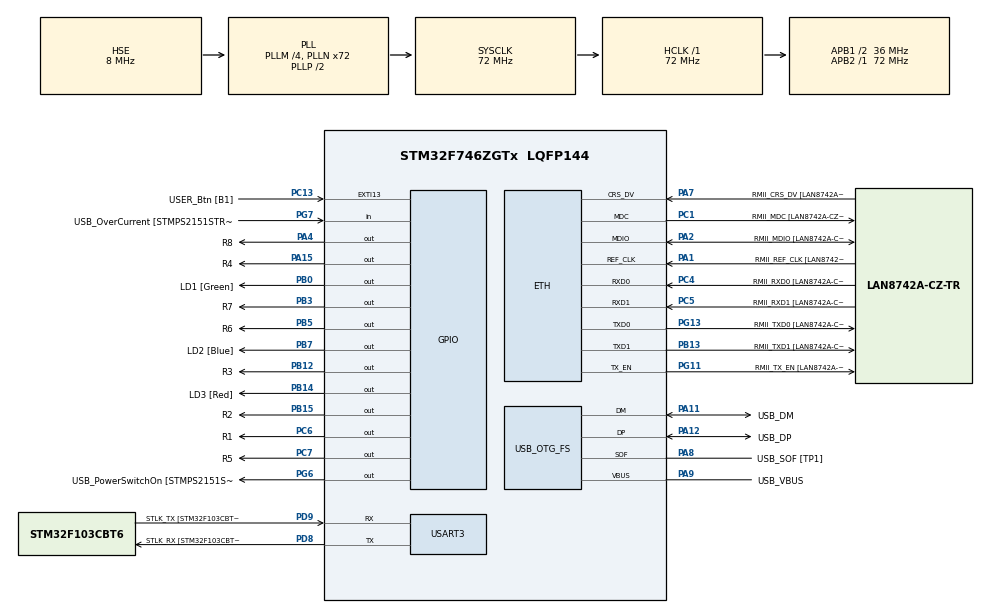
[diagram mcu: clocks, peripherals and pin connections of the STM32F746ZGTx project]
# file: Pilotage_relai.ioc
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ETH.MediaInterface=ETH_MEDIA_INTERFACE_RMII
ETH.PHY_Name=LAN8742A_PHY_ADDRESS
ETH.PHY_Value=0
ETH.PhyAddress=0
FREERTOS.Tasks01=HTTP,0,2048,StartDefaultTask,Default,NULL,Dynamic,NULL,NULL
LWIP.GATEWAY_ADDRESS=192.168.001.001
LWIP.IP_ADDRESS=192.168.001.002
LWIP.LWIP_DHCP=0
LWIP.LWIP_HTTPD=1
LWIP.NETMASK_ADDRESS=255.255.255.000
LWIP.Version=v2.0.3_Cube
Mcu.Family=STM32F7
Mcu.Name=STM32F746ZGTx
Mcu.Package=LQFP144
NVIC.ETH_IRQn=true\:5\:0\:false\:false\:true\:true\:false\:true
NVIC.EXTI15_10_IRQn=true\:5\:0\:false\:false\:true\:true\:true\:true
NVIC.PriorityGroup=NVIC_PRIORITYGROUP_4
NVIC.TIM6_DAC_IRQn=true\:0\:0\:false\:false\:true\:false\:false\:true
NVIC.TimeBase=TIM6_DAC_IRQn
NVIC.TimeBaseIP=TIM6
PA1.GPIO_Label=RMII_REF_CLK [LAN8742A-CZ-TR_REFCLK0]
PA1.Mode=RMII
PA1.Signal=ETH_REF_CLK
PA10.GPIO_Label=USB_ID
PA10.Signal=USB_OTG_FS_ID
PA11.GPIO_Label=USB_DM
PA11.Mode=Device_Only
PA11.Signal=USB_OTG_FS_DM
PA12.GPIO_Label=USB_DP
PA12.Mode=Device_Only
PA12.Signal=USB_OTG_FS_DP
PA13.GPIO_Label=TMS
PA13.Mode=Serial_Wire
PA13.Signal=SYS_JTMS-SWDIO
PA14.GPIO_Label=TCK
PA14.Mode=Serial_Wire
PA14.Signal=SYS_JTCK-SWCLK
PA15.GPIO_Label=R4
PA15.PinState=GPIO_PIN_SET
PA15.Signal=GPIO_Output
PA2.GPIO_Label=RMII_MDIO [LAN8742A-CZ-TR_MDIO]
PA2.Mode=RMII
PA2.Signal=ETH_MDIO
PA4.GPIO_Label=R8
PA4.GPIO_ModeDefaultOutputPP=GPIO_MODE_OUTPUT_PP
PA4.PinState=GPIO_PIN_SET
PA4.Signal=GPIO_Output
PA7.GPIO_Label=RMII_CRS_DV [LAN8742A-CZ-TR_CRS_DV]
PA7.Mode=RMII
PA7.Signal=ETH_CRS_DV
PA8.GPIO_Label=USB_SOF [TP1]
PA8.Mode=Activate_SOF_FS
PA8.Signal=USB_OTG_FS_SOF
PA9.GPIO_Label=USB_VBUS
PA9.Mode=Activate_VBUS
PA9.Signal=USB_OTG_FS_VBUS
PB0.GPIO_Label=LD1 [Green]
PB0.Signal=GPIO_Output
PB12.GPIO_Label=R3
PB12.PinState=GPIO_PIN_SET
PB12.Signal=GPIO_Output
PB13.GPIO_Label=RMII_TXD1 [LAN8742A-CZ-TR_TXD1]
PB13.Mode=RMII
PB13.Signal=ETH_TXD1
PB14.GPIO_Label=LD3 [Red]
PB14.Signal=GPIO_Output
PB15.GPIO_Label=R2
PB15.PinState=GPIO_PIN_SET
PB15.Signal=GPIO_Output
PB3.GPIO_Label=R7
PB3.PinState=GPIO_PIN_SET
PB3.Signal=GPIO_Output
PB5.GPIO_Label=R6
PB5.PinState=GPIO_PIN_SET
PB5.Signal=GPIO_Output
PB7.GPIO_Label=LD2 [Blue]
PB7.Signal=GPIO_Output
PC1.GPIO_Label=RMII_MDC [LAN8742A-CZ-TR_MDC]
PC1.Mode=RMII
PC1.Signal=ETH_MDC
PC13.GPIO_Label=USER_Btn [B1]
PC13.GPIO_ModeDefaultEXTI=GPIO_MODE_IT_FALLING
PC13.Signal=GPXTI13
PC14/OSC32_IN.Mode=LSE-External-Oscillator
PC14/OSC32_IN.Signal=RCC_OSC32_IN
PC15/OSC32_OUT.Mode=LSE-External-Oscillator
PC15/OSC32_OUT.Signal=RCC_OSC32_OUT
PC4.GPIO_Label=RMII_RXD0 [LAN8742A-CZ-TR_RXD0]
PC4.Mode=RMII
PC4.Signal=ETH_RXD0
PC5.GPIO_Label=RMII_RXD1 [LAN8742A-CZ-TR_RXD1]
PC5.Mode=RMII
PC5.Signal=ETH_RXD1
PC6.GPIO_Label=R1
PC6.PinState=GPIO_PIN_SET
PC6.Signal=GPIO_Output
PC7.GPIO_Label=R5
PC7.PinState=GPIO_PIN_SET
PC7.Signal=GPIO_Output
PD8.GPIO_Label=STLK_RX [STM32F103CBT6_PA3]
PD8.Mode=Asynchronous
PD8.Signal=USART3_TX
PD9.GPIO_Label=STLK_TX [STM32F103CBT6_PA2]
PD9.Mode=Asynchronous
PD9.Signal=USART3_RX
PG11.GPIO_Label=RMII_TX_EN [LAN8742A-CZ-TR_TXEN]
PG11.Mode=RMII
PG11.Signal=ETH_TX_EN
PG13.GPIO_Label=RMII_TXD0 [LAN8742A-CZ-TR_TXD0]
PG13.Mode=RMII
PG13.Signal=ETH_TXD0
PG6.GPIO_Label=USB_PowerSwitchOn [STMPS2151STR_EN]
PG6.Signal=GPIO_Output
PG7.GPIO_Label=USB_OverCurrent [STMPS2151STR_FAULT]
PG7.Signal=GPIO_Input
PH0/OSC_IN.GPIO_Label=MCO [STM32F103CBT6_PA8]
PH0/OSC_IN.Mode=HSE-External-Clock-Source
PH0/OSC_IN.Signal=RCC_OSC_IN
PH1/OSC_OUT.Mode=HSE-External-Clock-Source
PH1/OSC_OUT.Signal=RCC_OSC_OUT
ProjectManager.HeapSize=0x200
ProjectManager.StackSize=0x400
ProjectManager.TargetToolchain=STM32CubeIDE
RCC.48MHZClocksFreq_Value=24000000
RCC.AHBFreq_Value=72000000
RCC.APB1CLKDivider=RCC_HCLK_DIV2
RCC.APB1Freq_Value=36000000
RCC.APB1TimFreq_Value=72000000
RCC.APB2Freq_Value=72000000
RCC.APB2TimFreq_Value=72000000
RCC.CortexFreq_Value=72000000
RCC.HCLKFreq_Value=72000000
RCC.HSE_VALUE=8000000
RCC.HSI_VALUE=16000000
RCC.PLLM=4
RCC.PLLMUL=RCC_PLL_MUL9
RCC.PLLN=72
RCC.PLLQ=3
RCC.PRESCALERUSB=RCC_USBCLKSOURCE_PLL_DIV1_5
RCC.SYSCLKFreq_VALUE=72000000
RCC.SYSCLKSource=RCC_SYSCLKSOURCE_PLLCLK
RCC.SYSCLKSourceVirtual=RCC_SYSCLKSOURCE_PLLCLK
RCC.USBFreq_Value=48000000
RCC.VCOOutputFreq_Value=144000000
USART3.VirtualMode-Asynchronous=VM_ASYNC
USB_OTG_FS.VirtualMode=Device_Only
VP_FREERTOS_VS_CMSIS_V1.Mode=CMSIS_V1
VP_LWIP_VS_Enabled.Mode=Enabled
VP_SYS_VS_tim6.Mode=TIM6
board=NUCLEO-F746ZG

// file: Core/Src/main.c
/* USER CODE BEGIN Header */
/**
  ******************************************************************************
  * @file           : main.c
  * @brief          : Main program body
  ******************************************************************************
  * @attention
  *
  * <h2><center>&copy; Copyright (c) 2020 STMicroelectronics.
  * All rights reserved.</center></h2>
  *
  * This software component is licensed by ST under BSD 3-Clause license,
  * the "License"; You may not use this file except in compliance with the
  * License. You may obtain a copy of the License at:
  *                        opensource.org/licenses/BSD-3-Clause
  *
  ******************************************************************************
  */
/* USER CODE END Header */

#include "main.h"
#include "cmsis_os.h"
#include "lwip.h"

/* USER CODE BEGIN Includes */
#include "lwip/opt.h"
#include "lwip/arch.h"
#include "lwip/api.h"
#include "lwip/apps/fs.h"
#include "eeprom.h"
#include "string.h"
/* USER CODE END Includes */

/* USER CODE BEGIN PM */
#define SW_ON 1
#define SW_OFF 0
/* USER CODE END PM */

UART_HandleTypeDef huart3;

PCD_HandleTypeDef hpcd_USB_OTG_FS;

osThreadId HTTPHandle;
/* USER CODE BEGIN PV */
uint16_t VirtAddVarTab[12]={0x000C,0x0001,0x0002,0x0003,0x0004,0x0005,0x0006,0x0007,0x0008,0x0009,0x000A,0x000B};
struct StateSwitch Switch;

/* USER CODE END PV */

void SystemClock_Config(void);
static void MX_GPIO_Init(void);
static void MX_USART3_UART_Init(void);
static void MX_USB_OTG_FS_PCD_Init(void);
void StartDefaultTask(void const * argument);

/* USER CODE BEGIN PFP */
void create_XML_ToSend(char*c,struct StateSwitch Switch);
void http_server_serve(struct netconn *conn);
void SetSwitch(char* buf,struct StateSwitch *pSwitch);
void set_GPIO(struct StateSwitch *pSwitch);
void IP_PARSER(char* buf,uint16_t* IP,uint16_t* Mask,uint16_t* Gateway);
void Write_NewIPConfig(uint16_t* IP,uint16_t* Mask,uint16_t* Gateway);
/* USER CODE END PFP */

int main(void)
{

  /* MCU Configuration--------------------------------------------------------*/

  /* Reset of all peripherals, Initializes the Flash interface and the Systick. */
  HAL_Init();

  /* Configure the system clock */
  SystemClock_Config();

  /* USER CODE BEGIN SysInit */
  HAL_FLASH_Unlock();
  EE_Init();
  /* USER CODE END SysInit */

  /* Initialize all configured peripherals */
  MX_GPIO_Init();
  MX_USART3_UART_Init();
  MX_USB_OTG_FS_PCD_Init();
  MX_LWIP_Init();

  /* Create the thread(s) */
  /* definition and creation of HTTP */
  osThreadDef(HTTP, StartDefaultTask, osPriorityNormal, 0, 2048);
  HTTPHandle = osThreadCreate(osThread(HTTP), NULL);

  /* Start scheduler */
  osKernelStart();

  /* We should never get here as control is now taken by the scheduler */

  /* Infinite loop */
  while (1)
  {

  }
}

void SystemClock_Config(void)
{
  RCC_OscInitTypeDef RCC_OscInitStruct = {0};
  RCC_ClkInitTypeDef RCC_ClkInitStruct = {0};
  RCC_PeriphCLKInitTypeDef PeriphClkInitStruct = {0};

  /** Configure LSE Drive Capability
  */
  HAL_PWR_EnableBkUpAccess();
  /** Configure the main internal regulator output voltage
  */
  __HAL_RCC_PWR_CLK_ENABLE();
  __HAL_PWR_VOLTAGESCALING_CONFIG(PWR_REGULATOR_VOLTAGE_SCALE3);
  /** Initializes the CPU, AHB and APB busses clocks
  */
  RCC_OscInitStruct.OscillatorType = RCC_OSCILLATORTYPE_HSE;
  RCC_OscInitStruct.HSEState = RCC_HSE_BYPASS;
  RCC_OscInitStruct.PLL.PLLState = RCC_PLL_ON;
  RCC_OscInitStruct.PLL.PLLSource = RCC_PLLSOURCE_HSE;
  RCC_OscInitStruct.PLL.PLLM = 4;
  RCC_OscInitStruct.PLL.PLLN = 72;
  RCC_OscInitStruct.PLL.PLLP = RCC_PLLP_DIV2;
  RCC_OscInitStruct.PLL.PLLQ = 3;
  if (HAL_RCC_OscConfig(&RCC_OscInitStruct) != HAL_OK)
  {
    Error_Handler();
  }
  /** Initializes the CPU, AHB and APB busses clocks
  */
  RCC_ClkInitStruct.ClockType = RCC_CLOCKTYPE_HCLK|RCC_CLOCKTYPE_SYSCLK
                              |RCC_CLOCKTYPE_PCLK1|RCC_CLOCKTYPE_PCLK2;
  RCC_ClkInitStruct.SYSCLKSource = RCC_SYSCLKSOURCE_PLLCLK;
  RCC_ClkInitStruct.AHBCLKDivider = RCC_SYSCLK_DIV1;
  RCC_ClkInitStruct.APB1CLKDivider = RCC_HCLK_DIV2;
  RCC_ClkInitStruct.APB2CLKDivider = RCC_HCLK_DIV1;

  if (HAL_RCC_ClockConfig(&RCC_ClkInitStruct, FLASH_LATENCY_2) != HAL_OK)
  {
    Error_Handler();
  }
  PeriphClkInitStruct.PeriphClockSelection = RCC_PERIPHCLK_USART3|RCC_PERIPHCLK_CLK48;
  PeriphClkInitStruct.Usart3ClockSelection = RCC_USART3CLKSOURCE_PCLK1;
  PeriphClkInitStruct.Clk48ClockSelection = RCC_CLK48SOURCE_PLL;
  if (HAL_RCCEx_PeriphCLKConfig(&PeriphClkInitStruct) != HAL_OK)
  {
    Error_Handler();
  }
}

static void MX_USART3_UART_Init(void)
{

  huart3.Instance = USART3;
  huart3.Init.BaudRate = 115200;
  huart3.Init.WordLength = UART_WORDLENGTH_8B;
  huart3.Init.StopBits = UART_STOPBITS_1;
  huart3.Init.Parity = UART_PARITY_NONE;
  huart3.Init.Mode = UART_MODE_TX_RX;
  huart3.Init.HwFlowCtl = UART_HWCONTROL_NONE;
  huart3.Init.OverSampling = UART_OVERSAMPLING_16;
  huart3.Init.OneBitSampling = UART_ONE_BIT_SAMPLE_DISABLE;
  huart3.AdvancedInit.AdvFeatureInit = UART_ADVFEATURE_NO_INIT;
  if (HAL_UART_Init(&huart3) != HAL_OK)
  {
    Error_Handler();
  }

}

static void MX_USB_OTG_FS_PCD_Init(void)
{

  hpcd_USB_OTG_FS.Instance = USB_OTG_FS;
  hpcd_USB_OTG_FS.Init.dev_endpoints = 6;
  hpcd_USB_OTG_FS.Init.speed = PCD_SPEED_FULL;
  hpcd_USB_OTG_FS.Init.dma_enable = DISABLE;
  hpcd_USB_OTG_FS.Init.phy_itface = PCD_PHY_EMBEDDED;
  hpcd_USB_OTG_FS.Init.Sof_enable = ENABLE;
  hpcd_USB_OTG_FS.Init.low_power_enable = DISABLE;
  hpcd_USB_OTG_FS.Init.lpm_enable = DISABLE;
  hpcd_USB_OTG_FS.Init.vbus_sensing_enable = ENABLE;
  hpcd_USB_OTG_FS.Init.use_dedicated_ep1 = DISABLE;
  if (HAL_PCD_Init(&hpcd_USB_OTG_FS) != HAL_OK)
  {
    Error_Handler();
  }

}

static void MX_GPIO_Init(void)
{
  GPIO_InitTypeDef GPIO_InitStruct = {0};

  /* GPIO Ports Clock Enable */
  __HAL_RCC_GPIOC_CLK_ENABLE();
  __HAL_RCC_GPIOH_CLK_ENABLE();
  __HAL_RCC_GPIOA_CLK_ENABLE();
  __HAL_RCC_GPIOB_CLK_ENABLE();
  __HAL_RCC_GPIOD_CLK_ENABLE();
  __HAL_RCC_GPIOG_CLK_ENABLE();

  /*Configure GPIO pin Output Level */
  HAL_GPIO_WritePin(GPIOA, R8_Pin|R4_Pin, GPIO_PIN_SET);

  /*Configure GPIO pin Output Level */
  HAL_GPIO_WritePin(GPIOB, LD1_Pin|LD3_Pin|LD2_Pin, GPIO_PIN_RESET);

  /*Configure GPIO pin Output Level */
  HAL_GPIO_WritePin(GPIOB, R3_Pin|R2_Pin|R7_Pin|R6_Pin, GPIO_PIN_SET);

  /*Configure GPIO pin Output Level */
  HAL_GPIO_WritePin(USB_PowerSwitchOn_GPIO_Port, USB_PowerSwitchOn_Pin, GPIO_PIN_RESET);

  /*Configure GPIO pin Output Level */
  HAL_GPIO_WritePin(GPIOC, R1_Pin|R5_Pin, GPIO_PIN_SET);

  /*Configure GPIO pin : USER_Btn_Pin */
  GPIO_InitStruct.Pin = USER_Btn_Pin;
  GPIO_InitStruct.Mode = GPIO_MODE_IT_FALLING;
  GPIO_InitStruct.Pull = GPIO_NOPULL;
  HAL_GPIO_Init(USER_Btn_GPIO_Port, &GPIO_InitStruct);

  /*Configure GPIO pins : R8_Pin R4_Pin */
  GPIO_InitStruct.Pin = R8_Pin|R4_Pin;
  GPIO_InitStruct.Mode = GPIO_MODE_OUTPUT_PP;
  GPIO_InitStruct.Pull = GPIO_NOPULL;
  GPIO_InitStruct.Speed = GPIO_SPEED_FREQ_LOW;
  HAL_GPIO_Init(GPIOA, &GPIO_InitStruct);

  /*Configure GPIO pins : LD1_Pin R3_Pin LD3_Pin R2_Pin
                           R7_Pin R6_Pin LD2_Pin */
  GPIO_InitStruct.Pin = LD1_Pin|R3_Pin|LD3_Pin|R2_Pin
                          |R7_Pin|R6_Pin|LD2_Pin;
  GPIO_InitStruct.Mode = GPIO_MODE_OUTPUT_PP;
  GPIO_InitStruct.Pull = GPIO_NOPULL;
  GPIO_InitStruct.Speed = GPIO_SPEED_FREQ_LOW;
  HAL_GPIO_Init(GPIOB, &GPIO_InitStruct);

  /*Configure GPIO pin : USB_PowerSwitchOn_Pin */
  GPIO_InitStruct.Pin = USB_PowerSwitchOn_Pin;
  GPIO_InitStruct.Mode = GPIO_MODE_OUTPUT_PP;
  GPIO_InitStruct.Pull = GPIO_NOPULL;
  GPIO_InitStruct.Speed = GPIO_SPEED_FREQ_LOW;
  HAL_GPIO_Init(USB_PowerSwitchOn_GPIO_Port, &GPIO_InitStruct);

  /*Configure GPIO pin : USB_OverCurrent_Pin */
  GPIO_InitStruct.Pin = USB_OverCurrent_Pin;
  GPIO_InitStruct.Mode = GPIO_MODE_INPUT;
  GPIO_InitStruct.Pull = GPIO_NOPULL;
  HAL_GPIO_Init(USB_OverCurrent_GPIO_Port, &GPIO_InitStruct);

  /*Configure GPIO pins : R1_Pin R5_Pin */
  GPIO_InitStruct.Pin = R1_Pin|R5_Pin;
  GPIO_InitStruct.Mode = GPIO_MODE_OUTPUT_PP;
  GPIO_InitStruct.Pull = GPIO_NOPULL;
  GPIO_InitStruct.Speed = GPIO_SPEED_FREQ_LOW;
  HAL_GPIO_Init(GPIOC, &GPIO_InitStruct);

  /* EXTI interrupt init*/
  HAL_NVIC_SetPriority(EXTI15_10_IRQn, 5, 0);
  HAL_NVIC_EnableIRQ(EXTI15_10_IRQn);

}

/* USER CODE BEGIN 4 */
void HAL_GPIO_EXTI_Callback(uint16_t GPIO_Pin) {
	/* Callback (interrupt on GPIO) */
	if (GPIO_Pin==USER_Btn_Pin)
	{
	/* Mass Erase on sector 5,6,7 in order to recover factory configuration */
	FLASH_EraseInitTypeDef EraseInitStruct;
	uint32_t SectorError;
	EraseInitStruct.TypeErase     = FLASH_TYPEERASE_SECTORS;
	EraseInitStruct.VoltageRange  = FLASH_VOLTAGE_RANGE_3;
	EraseInitStruct.Sector        = FLASH_SECTOR_5;
	EraseInitStruct.NbSectors     = 3;
	HAL_FLASHEx_Erase(&EraseInitStruct, &SectorError);
	/* Reboot the board */
	NVIC_SystemReset();
	}
}
void http_server_serve(struct netconn *conn)
{
	 err_t recv_err=-1;
	 struct fs_file file;
	 char* buf;
	 u16_t buflen;struct netbuf *inbuf;
	 char http_index_html[384];
	 const static char http_html_hdr[] = "HTTP/1.1 200 OK\r\nContent-type: application/xml\r\n\r\n";
	 uint16_t IP[4]={0,0,0,0};
	 uint16_t Mask[4]={0,0,0,0};
	 uint16_t Gateway[4]={0,0,0,0};

	 recv_err = netconn_recv(conn, &inbuf);
	 if (recv_err == ERR_OK)
	 {
		 netbuf_data(inbuf,(void**) &buf, &buflen);
		 if ((buflen >=5) && (strncmp(buf, "GET /", 5) == 0))
	     	 {
			 HAL_UART_Transmit(&huart3, (uint8_t *)"received...\n\r", 50, 1000);

			 if (strncmp((char const *)buf,"GET / HTTP",10)==0)
	 	     {
				 /* HTML Page asked by a client*/
				 fs_open(&file, "/page.html");
				 netconn_write(conn, (const unsigned char*)(file.data), (size_t)file.len, NETCONN_NOCOPY);
				 fs_close(&file);
	 	      }

			 if (strncmp((char const *)buf,"GET /Switch?",12)==0)
			 {
				 /* Switch state asked by a client*/
				 create_XML_ToSend(http_index_html,Switch);
				 /* Send XML */
				 netconn_write(conn, http_html_hdr, sizeof(http_html_hdr)-1, NETCONN_NOCOPY);
				 netconn_write(conn, http_index_html, sizeof(http_index_html)-1, NETCONN_NOCOPY);
			 }

			 if (strncmp((char const *)buf,"GET /StateChanged",17)==0)
			 {
				 /* Client want to set switch State*/
				 SetSwitch(buf,&Switch);
				 create_XML_ToSend(http_index_html,Switch);
				 /* Send XML */
				 netconn_write(conn, http_html_hdr, sizeof(http_html_hdr)-1, NETCONN_NOCOPY);
				 netconn_write(conn, http_index_html, sizeof(http_index_html)-1, NETCONN_NOCOPY);
			 }

			 if (strncmp((char const *)buf,"GET /ChangeIP",13)==0)
			 {

				 /* Client want to set new IP configuration */
				 IP_PARSER(buf,IP,Mask,Gateway);
				 /* Write config on EEPROM */
				 Write_NewIPConfig(IP,Mask,Gateway);
				 /* Reboot the board */
				 NVIC_SystemReset();

			 }

	    }

	 netconn_close(conn);
	 netbuf_delete(inbuf);
	 }
}

void create_XML_ToSend(char*c,struct StateSwitch Switch)
{
	sprintf(c,"<COMPONENT><Switch><ID>SW1</ID><State>%i</State></Switch><Switch><ID>SW2</ID><State>%i</State></Switch><Switch><ID>SW3</ID><State>%i</State></Switch><Switch><ID>SW4</ID><State>%i</State></Switch><Switch><ID>SW5</ID><State>%i</State></Switch><Switch><ID>SW6</ID><State>%i</State></Switch><Switch><ID>SW7</ID><State>%i</State></Switch><Switch><ID>SW8</ID><State>%i</State></Switch></COMPONENT>",Switch.SW1_state,Switch.SW2_state,Switch.SW3_state,Switch.SW4_state,Switch.SW5_state,Switch.SW6_state,Switch.SW7_state,Switch.SW8_state);
}

void SetSwitch(char* buf,struct StateSwitch *pSwitch)
{
	char payload_state[8]="";
	memcpy(payload_state,&buf[18],8);
	/* payload example : 10100001 */
	/* convert string to int for each value of the payload*/
	pSwitch->SW1_state=(int)(payload_state[0]-48);
	pSwitch->SW2_state=(int)(payload_state[1]-48);
	pSwitch->SW3_state=(int)(payload_state[2]-48);
	pSwitch->SW4_state=(int)(payload_state[3]-48);
	pSwitch->SW5_state=(int)(payload_state[4]-48);
	pSwitch->SW6_state=(int)(payload_state[5]-48);
	pSwitch->SW7_state=(int)(payload_state[6]-48);
	pSwitch->SW8_state=(int)(payload_state[7]-48);
	set_GPIO(pSwitch);
}

void set_GPIO(struct StateSwitch *pSwitch)
{
	/* Set HIGH/low GPIO output connected to LD2 */
	HAL_GPIO_WritePin(GPIOC,R1_Pin,(int)!(pSwitch->SW1_state));
	HAL_GPIO_WritePin(GPIOB,R2_Pin,(int)!(pSwitch->SW2_state));
	HAL_GPIO_WritePin(GPIOB,R3_Pin,(int)!(pSwitch->SW3_state));
	HAL_GPIO_WritePin(GPIOA,R4_Pin,(int)!(pSwitch->SW4_state));
	HAL_GPIO_WritePin(GPIOC,R5_Pin,(int)!(pSwitch->SW5_state));
	HAL_GPIO_WritePin(GPIOB,R6_Pin,(int)!(pSwitch->SW6_state));
	HAL_GPIO_WritePin(GPIOB,R7_Pin,(int)!(pSwitch->SW7_state));
	HAL_GPIO_WritePin(GPIOA,R8_Pin,(int)!(pSwitch->SW8_state));
	/* Can add at least 7 more GPIO to control remotly */

}

void IP_PARSER(char* buf,uint16_t* IP,uint16_t* Mask,uint16_t* Gateway)
{
	char* saveptr=NULL;
	char payload_IP[15]="";
	char payload_Mask[15]="";
	char payload_Gateway[15]="";
	memcpy(payload_IP,&buf[14],15);
	memcpy(payload_Mask,&buf[30],15);
	memcpy(payload_Gateway,&buf[46],15);

// loop through the string to extract all other tokens

    IP[0]=(uint8_t)atoi(strtok_r(payload_IP,".",&saveptr));
    IP[1]=(uint8_t)atoi(strtok_r(NULL,".",&saveptr));
    IP[2]=(uint8_t)atoi(strtok_r(NULL,".",&saveptr));
    IP[3]=(uint8_t)atoi(strtok_r(NULL,".",&saveptr));

    Mask[0]=(uint8_t)atoi(strtok_r(payload_Mask,".",&saveptr));
    Mask[1]=(uint8_t)atoi(strtok_r(NULL,".",&saveptr));
    Mask[2]=(uint8_t)atoi(strtok_r(NULL,".",&saveptr));
    Mask[3]=(uint8_t)atoi(strtok_r(NULL,".",&saveptr));

    Gateway[0]=(uint8_t)atoi(strtok_r(payload_Gateway,".",&saveptr));
    Gateway[1]=(uint8_t)atoi(strtok_r(NULL,".",&saveptr));
    Gateway[2]=(uint8_t)atoi(strtok_r(NULL,".",&saveptr));
    Gateway[3]=(uint8_t)atoi(strtok_r(NULL,".",&saveptr));

}

void Write_NewIPConfig(uint16_t* IP,uint16_t* Mask,uint16_t* Gateway)
{
	for (int i=0;i<sizeof(IP);i++)
	{
		EE_WriteVariable(VirtAddVarTab[i],IP[i]);
	}
	for (int i=0;i<sizeof(IP);i++)
	{
		EE_WriteVariable(VirtAddVarTab[i+4],Mask[i]);
	}
	for (int i=0;i<sizeof(IP);i++)
	{
		EE_WriteVariable(VirtAddVarTab[i+8],Gateway[i]);
	}
}
/* USER CODE END 4 */

void StartDefaultTask(void const * argument)
{
  /* USER CODE BEGIN 5 */
	struct netconn *conn, *newconn;
			err_t err, accept_err;
			/* set all switch to state 0*/
			memset(&Switch,0,sizeof(Switch));

			  /* Create a new TCP connection handle */
			  conn = netconn_new(NETCONN_TCP);

			  if (conn!= NULL)
			  {
			    /* Bind to port 80 (HTTP) with default IP address */
			    err = netconn_bind(conn, NULL, 80);

			    if (err == ERR_OK)
			    {
			    	HAL_UART_Transmit(&huart3, (uint8_t *)"listening...\n\r", 16, 1000);
			      /* Put the connection into LISTEN state */
			      netconn_listen(conn);

			      while(1)
			      {
			    	  /* Grab new connection. */
			    	   accept_err = netconn_accept(conn, &newconn);

			    	   /* Process the new connection. */
			    	   if (accept_err == ERR_OK)
			    	   {

			    		   HAL_UART_Transmit(&huart3, (uint8_t *)"accepted...\n\r", 16, 1000);

			    		   /* serve connection */
			    		   http_server_serve(newconn);

			    		   netconn_delete(newconn);

			    }
			  }
			    }
			  }
  /* USER CODE END 5 */
}

void HAL_TIM_PeriodElapsedCallback(TIM_HandleTypeDef *htim)
{
  if (htim->Instance == TIM6) {
    HAL_IncTick();
  }
}

void Error_Handler(void)
{
}

/************************ (C) COPYRIGHT STMicroelectronics *****END OF FILE****/
